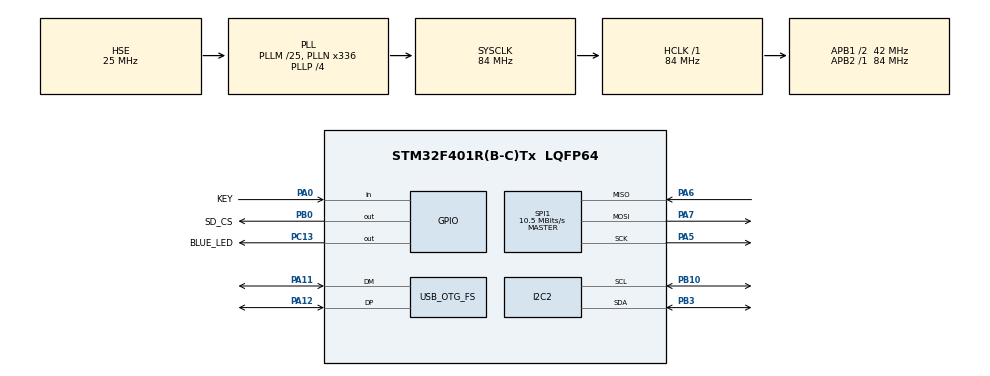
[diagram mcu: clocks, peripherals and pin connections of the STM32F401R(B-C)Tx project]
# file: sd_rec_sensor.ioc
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Dma.I2C2_RX.0.Direction=DMA_PERIPH_TO_MEMORY
Dma.I2C2_RX.0.FIFOMode=DMA_FIFOMODE_DISABLE
Dma.I2C2_RX.0.Instance=DMA1_Stream2
Dma.I2C2_RX.0.MemDataAlignment=DMA_MDATAALIGN_BYTE
Dma.I2C2_RX.0.MemInc=DMA_MINC_ENABLE
Dma.I2C2_RX.0.Mode=DMA_NORMAL
Dma.I2C2_RX.0.PeriphDataAlignment=DMA_PDATAALIGN_BYTE
Dma.I2C2_RX.0.PeriphInc=DMA_PINC_DISABLE
Dma.I2C2_RX.0.Priority=DMA_PRIORITY_MEDIUM
Dma.I2C2_TX.1.Direction=DMA_MEMORY_TO_PERIPH
Dma.I2C2_TX.1.FIFOMode=DMA_FIFOMODE_DISABLE
Dma.I2C2_TX.1.Instance=DMA1_Stream7
Dma.I2C2_TX.1.MemDataAlignment=DMA_MDATAALIGN_BYTE
Dma.I2C2_TX.1.MemInc=DMA_MINC_ENABLE
Dma.I2C2_TX.1.Mode=DMA_NORMAL
Dma.I2C2_TX.1.PeriphDataAlignment=DMA_PDATAALIGN_BYTE
Dma.I2C2_TX.1.PeriphInc=DMA_PINC_DISABLE
Dma.I2C2_TX.1.Priority=DMA_PRIORITY_MEDIUM
Dma.Request0=I2C2_RX
Dma.Request1=I2C2_TX
Dma.Request2=SPI1_RX
Dma.Request3=SPI1_TX
Dma.SPI1_RX.2.Direction=DMA_PERIPH_TO_MEMORY
Dma.SPI1_RX.2.FIFOMode=DMA_FIFOMODE_DISABLE
Dma.SPI1_RX.2.Instance=DMA2_Stream0
Dma.SPI1_RX.2.MemDataAlignment=DMA_MDATAALIGN_BYTE
Dma.SPI1_RX.2.MemInc=DMA_MINC_ENABLE
Dma.SPI1_RX.2.Mode=DMA_NORMAL
Dma.SPI1_RX.2.PeriphDataAlignment=DMA_PDATAALIGN_BYTE
Dma.SPI1_RX.2.PeriphInc=DMA_PINC_DISABLE
Dma.SPI1_RX.2.Priority=DMA_PRIORITY_LOW
Dma.SPI1_TX.3.Direction=DMA_MEMORY_TO_PERIPH
Dma.SPI1_TX.3.FIFOMode=DMA_FIFOMODE_DISABLE
Dma.SPI1_TX.3.Instance=DMA2_Stream3
Dma.SPI1_TX.3.MemDataAlignment=DMA_MDATAALIGN_BYTE
Dma.SPI1_TX.3.MemInc=DMA_MINC_ENABLE
Dma.SPI1_TX.3.Mode=DMA_NORMAL
Dma.SPI1_TX.3.PeriphDataAlignment=DMA_PDATAALIGN_BYTE
Dma.SPI1_TX.3.PeriphInc=DMA_PINC_DISABLE
Dma.SPI1_TX.3.Priority=DMA_PRIORITY_LOW
I2C2.I2C_Mode=I2C_Fast
Mcu.Family=STM32F4
Mcu.Name=STM32F401R(B-C)Tx
Mcu.Package=LQFP64
NVIC.DMA1_Stream2_IRQn=true\:7\:0\:true\:false\:true\:false\:true\:true
NVIC.DMA1_Stream7_IRQn=true\:7\:0\:true\:false\:true\:false\:true\:true
NVIC.DMA2_Stream0_IRQn=true\:8\:0\:true\:false\:true\:false\:true\:true
NVIC.DMA2_Stream3_IRQn=true\:8\:0\:true\:false\:true\:false\:true\:true
NVIC.I2C2_EV_IRQn=true\:7\:0\:true\:false\:true\:true\:true\:true
NVIC.OTG_FS_IRQn=true\:6\:0\:true\:false\:true\:false\:true\:true
NVIC.PriorityGroup=NVIC_PRIORITYGROUP_4
NVIC.SPI1_IRQn=true\:8\:0\:true\:false\:true\:true\:true\:true
NVIC.TIM1_BRK_TIM9_IRQn=true\:6\:0\:true\:false\:true\:true\:true\:true
NVIC.TIM1_UP_TIM10_IRQn=true\:15\:0\:false\:false\:true\:false\:true\:true
NVIC.TimeBase=TIM1_UP_TIM10_IRQn
NVIC.TimeBaseIP=TIM1
PA0-WKUP.GPIO_Label=KEY
PA0-WKUP.Signal=GPIO_Input
PA11.Mode=Device_Only
PA11.Signal=USB_OTG_FS_DM
PA12.Mode=Device_Only
PA12.Signal=USB_OTG_FS_DP
PA13.Mode=Serial_Wire
PA13.Signal=SYS_JTMS-SWDIO
PA14.Mode=Serial_Wire
PA14.Signal=SYS_JTCK-SWCLK
PA5.GPIO_Speed=GPIO_SPEED_FREQ_HIGH
PA5.Mode=Full_Duplex_Master
PA5.Signal=SPI1_SCK
PA6.GPIO_Speed=GPIO_SPEED_FREQ_HIGH
PA6.Mode=Full_Duplex_Master
PA6.Signal=SPI1_MISO
PA7.GPIO_Speed=GPIO_SPEED_FREQ_HIGH
PA7.Mode=Full_Duplex_Master
PA7.Signal=SPI1_MOSI
PB0.GPIO_Label=SD_CS
PB0.GPIO_Speed=GPIO_SPEED_FREQ_HIGH
PB0.PinState=GPIO_PIN_SET
PB0.Signal=GPIO_Output
PB10.GPIO_Speed=GPIO_SPEED_FREQ_MEDIUM
PB10.Mode=I2C
PB10.Signal=I2C2_SCL
PB3.GPIO_Speed=GPIO_SPEED_FREQ_MEDIUM
PB3.Mode=I2C
PB3.Signal=I2C2_SDA
PC13-ANTI_TAMP.GPIO_Label=BLUE_LED
PC13-ANTI_TAMP.Signal=GPIO_Output
PC14-OSC32_IN.Mode=LSE-External-Oscillator
PC14-OSC32_IN.Signal=RCC_OSC32_IN
PC15-OSC32_OUT.Mode=LSE-External-Oscillator
PC15-OSC32_OUT.Signal=RCC_OSC32_OUT
PH0\ -\ OSC_IN.Mode=HSE-External-Oscillator
PH0\ -\ OSC_IN.Signal=RCC_OSC_IN
PH1\ -\ OSC_OUT.Mode=HSE-External-Oscillator
PH1\ -\ OSC_OUT.Signal=RCC_OSC_OUT
ProjectManager.HeapSize=0x200
ProjectManager.StackSize=0x400
ProjectManager.TargetToolchain=Makefile
RCC.48MHZClocksFreq_Value=48000000
RCC.AHBFreq_Value=84000000
RCC.APB1CLKDivider=RCC_HCLK_DIV2
RCC.APB1Freq_Value=42000000
RCC.APB1TimFreq_Value=84000000
RCC.APB2Freq_Value=84000000
RCC.APB2TimFreq_Value=84000000
RCC.CortexFreq_Value=84000000
RCC.HCLKFreq_Value=84000000
RCC.HSE_VALUE=25000000
RCC.HSI_VALUE=16000000
RCC.PLLM=25
RCC.PLLN=336
RCC.PLLP=RCC_PLLP_DIV4
RCC.PLLQ=7
RCC.SYSCLKFreq_VALUE=84000000
RCC.SYSCLKSource=RCC_SYSCLKSOURCE_PLLCLK
RCC.VCOOutputFreq_Value=336000000
SPI1.BaudRatePrescaler=SPI_BAUDRATEPRESCALER_8
SPI1.CLKPhase=SPI_PHASE_2EDGE
SPI1.CLKPolarity=SPI_POLARITY_HIGH
SPI1.CalculateBaudRate=10.5 MBits/s
SPI1.Direction=SPI_DIRECTION_2LINES
SPI1.Mode=SPI_MODE_MASTER
SPI1.VirtualType=VM_MASTER
TIM9.Period=999
TIM9.Prescaler=84
USB_DEVICE.CLASS_NAME_FS=CDC
USB_DEVICE.VirtualMode=Cdc
USB_DEVICE.VirtualModeFS=Cdc_FS
USB_OTG_FS.VirtualMode=Device_Only
VP_SYS_VS_tim1.Mode=TIM1
VP_TIM9_VS_ClockSourceINT.Mode=Internal
VP_USB_DEVICE_VS_USB_DEVICE_CDC_FS.Mode=CDC_FS
board=custom

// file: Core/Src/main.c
/* USER CODE BEGIN Header */
/**
  ******************************************************************************
  * @file           : main.c
  * @brief          : Main program body
  ******************************************************************************
  * @attention
  *
  * Copyright (c) 2023 STMicroelectronics.
  * All rights reserved.
  *
  * This software is licensed under terms that can be found in the LICENSE file
  * in the root directory of this software component.
  * If no LICENSE file comes with this software, it is provided AS-IS.
  *
  ******************************************************************************
  */
/* USER CODE END Header */
#include "main.h"
#include "dma.h"
#include "i2c.h"
#include "spi.h"
#include "tim.h"
#include "usb_device.h"
#include "gpio.h"

/* USER CODE BEGIN Includes */
#include "usbd_cdc_if.h"
#include "FreeRTOS.h"
#include "task.h"
#include "dwt_delay.h"
#include "rtos_bus.h"
#include "icm20948.h"
#include "diskio.h"
/* USER CODE END Includes */

/* USER CODE BEGIN PD */
#define SD_BUFFER_SIZE  512
/* USER CODE END PD */

/* USER CODE BEGIN PV */
TaskHandle_t sensor_handler;
TaskHandle_t sd_handler;
TaskHandle_t msg_handler;

struct imu {
  float ax;
  float ay;
  float az;
  float gx;
  float gy;
  float gz;
} imu;

char *sd_idle_buf_ptr;
char sd_buffer[2][SD_BUFFER_SIZE];
/* variable of sd spi */
WORD Timer1, Timer2;
/* variable of file system */
FATFS fs;
FATFS *pfs;
FIL fil;
FRESULT fres;
DWORD fre_clust;

uint8_t rec_finish;

/* USER CODE END PV */

void SystemClock_Config(void);
/* USER CODE BEGIN PFP */
static void sensor_task(void *param);
static void sd_task(void *param);
static void msg_task(void *param);

/* USER CODE END PFP */

int main(void)
{
  /* USER CODE BEGIN 1 */
  BaseType_t status;
  /* USER CODE END 1 */

  /* MCU Configuration--------------------------------------------------------*/

  /* Reset of all peripherals, Initializes the Flash interface and the Systick. */
  HAL_Init();

  /* Configure the system clock */
  SystemClock_Config();

  /* Initialize all configured peripherals */
  MX_GPIO_Init();
  MX_DMA_Init();
  MX_USB_DEVICE_Init();
  MX_I2C2_Init();
  MX_SPI1_Init();
  MX_TIM9_Init();
  /* USER CODE BEGIN 2 */
  DWT_Init();
  HAL_Delay(100);
  /* Initialize SD double buffer */
  sd_idle_buf_ptr = sd_buffer[0];
  memset(sd_buffer[0], 0, SD_BUFFER_SIZE);
  memset(sd_buffer[1], 0, SD_BUFFER_SIZE);

  rec_finish = 0;

  set_bus_mode(BUS_POLLING_MODE);

  if (icm20948_init(1125, GYRO_2000_DPS, ACCEL_16G, LP_BW_119HZ)) {
    while (1) {
      HAL_GPIO_TogglePin(BLUE_LED_GPIO_Port, BLUE_LED_Pin);
      HAL_Delay(1000);
    }
  }

  fres = f_mount(&fs, "", 0);
  if (fres != FR_OK) {
    Error_Handler();
  }
  fres = f_open(&fil, "test1.txt", FA_CREATE_ALWAYS | FA_READ | FA_WRITE);
  if (fres != FR_OK) {
    Error_Handler();
  }

  set_bus_mode(BUS_INTERRUPT_MODE);

  vSetVarulMaxPRIGROUPValue();
  SEGGER_UART_init(1500000);
  SEGGER_SYSVIEW_Conf();

  status = xTaskCreate(sensor_task, "sensor_task", 300, NULL, 3, &sensor_handler);
  configASSERT(status == pdPASS);

  status = xTaskCreate(sd_task, "sd_task", 300, NULL, 2, &sd_handler);
  configASSERT(status == pdPASS);

  status = xTaskCreate(msg_task, "msg_task", 500, NULL, 1, &msg_handler);
  configASSERT(status == pdPASS);

  vTaskStartScheduler();
  /* USER CODE END 2 */

  /* Infinite loop */
  while (1)
  {

  }
}

void SystemClock_Config(void)
{
  RCC_OscInitTypeDef RCC_OscInitStruct = {0};
  RCC_ClkInitTypeDef RCC_ClkInitStruct = {0};

  /** Configure the main internal regulator output voltage
  */
  __HAL_RCC_PWR_CLK_ENABLE();
  __HAL_PWR_VOLTAGESCALING_CONFIG(PWR_REGULATOR_VOLTAGE_SCALE2);

  /** Initializes the RCC Oscillators according to the specified parameters
  * in the RCC_OscInitTypeDef structure.
  */
  RCC_OscInitStruct.OscillatorType = RCC_OSCILLATORTYPE_HSE;
  RCC_OscInitStruct.HSEState = RCC_HSE_ON;
  RCC_OscInitStruct.PLL.PLLState = RCC_PLL_ON;
  RCC_OscInitStruct.PLL.PLLSource = RCC_PLLSOURCE_HSE;
  RCC_OscInitStruct.PLL.PLLM = 25;
  RCC_OscInitStruct.PLL.PLLN = 336;
  RCC_OscInitStruct.PLL.PLLP = RCC_PLLP_DIV4;
  RCC_OscInitStruct.PLL.PLLQ = 7;
  if (HAL_RCC_OscConfig(&RCC_OscInitStruct) != HAL_OK)
  {
    Error_Handler();
  }

  /** Initializes the CPU, AHB and APB buses clocks
  */
  RCC_ClkInitStruct.ClockType = RCC_CLOCKTYPE_HCLK|RCC_CLOCKTYPE_SYSCLK
                              |RCC_CLOCKTYPE_PCLK1|RCC_CLOCKTYPE_PCLK2;
  RCC_ClkInitStruct.SYSCLKSource = RCC_SYSCLKSOURCE_PLLCLK;
  RCC_ClkInitStruct.AHBCLKDivider = RCC_SYSCLK_DIV1;
  RCC_ClkInitStruct.APB1CLKDivider = RCC_HCLK_DIV2;
  RCC_ClkInitStruct.APB2CLKDivider = RCC_HCLK_DIV1;

  if (HAL_RCC_ClockConfig(&RCC_ClkInitStruct, FLASH_LATENCY_2) != HAL_OK)
  {
    Error_Handler();
  }
}

/* USER CODE BEGIN 4 */
void HAL_I2C_MemTxCpltCallback(I2C_HandleTypeDef *hi2c)
{
  BaseType_t xHigherPriorityTaskWoken = pdFALSE;

  if (hi2c->Instance == hi2c2.Instance) {
    vTaskNotifyGiveFromISR(sensor_handler, &xHigherPriorityTaskWoken);
  }
  portYIELD_FROM_ISR(xHigherPriorityTaskWoken);
}

void HAL_I2C_MemRxCpltCallback(I2C_HandleTypeDef *hi2c)
{
  BaseType_t xHigherPriorityTaskWoken = pdFALSE;

  if (hi2c->Instance == hi2c2.Instance) {
    vTaskNotifyGiveFromISR(sensor_handler, &xHigherPriorityTaskWoken);
  }
  portYIELD_FROM_ISR(xHigherPriorityTaskWoken);
}

void HAL_SPI_TxRxCpltCallback(SPI_HandleTypeDef *hspi)
{
  BaseType_t xHigherPriorityTaskWoken = pdFALSE;

  if (hspi->Instance == hspi1.Instance) {
    vTaskNotifyGiveFromISR(sd_handler, &xHigherPriorityTaskWoken);
  }
  portYIELD_FROM_ISR(xHigherPriorityTaskWoken);
}

void HAL_SPI_TxCpltCallback(SPI_HandleTypeDef *hspi)
{
  BaseType_t xHigherPriorityTaskWoken = pdFALSE;

  if (hspi->Instance == hspi1.Instance) {
    vTaskNotifyGiveFromISR(sd_handler, &xHigherPriorityTaskWoken);
  }
  portYIELD_FROM_ISR(xHigherPriorityTaskWoken);
}

static void sensor_task(void *param)
{
  struct {
    BaseType_t current_tick;
    float ax, ay, az, gx, gy, gz;
  } data;
  uint16_t msg_len;

  while (1) {
    if (!icm20948_read_axis6(&data.ax, &data.ay, &data.az,
                             &data.gx, &data.gy, &data.gz)) {
      data.current_tick = xTaskGetTickCount();
      imu.ax = data.az;
      imu.ay = data.ay;
      imu.az = data.az;
      imu.gx = data.gx;
      imu.gy = data.gy;
      imu.gz = data.gz;

      if (!rec_finish) {
        msg_len = snprintf(sd_idle_buf_ptr, 200, "tick: %ld, "
                          "ax: %.2f, ay: %.2f, az: %.2f, "
                          "gx: %.2f, gy: %.2f, gz: %.2f\n",
                          data.current_tick, data.ax, data.ay, data.az,
                          data.gx, data.gy, data.gz);
        sd_idle_buf_ptr += msg_len;
        // memcpy(sd_idle_buf_ptr, &data, sizeof(data));
        // sd_idle_buf_ptr += sizeof(data);
        // *(sd_idle_buf_ptr++) = '\n';
      }
    }
    vTaskDelay(pdMS_TO_TICKS(10));
  }
}

static void sd_task(void *param)
{
  BaseType_t start_tick = xTaskGetTickCount();
  BaseType_t pass_tick;
  uint8_t wr_buf_id = 1;
  UINT wr_msg_size = 0;
  UINT remain_size;

  while (1) {
    pass_tick = xTaskGetTickCount() - start_tick;
    if (pass_tick < pdMS_TO_TICKS(10000)) {
      if (wr_msg_size > 0)
        f_write(&fil, sd_buffer[wr_buf_id], wr_msg_size, &remain_size);

      vTaskSuspendAll();
      wr_msg_size = sd_idle_buf_ptr - sd_buffer[!wr_buf_id];
      sd_idle_buf_ptr = sd_buffer[wr_buf_id];
      xTaskResumeAll();

      wr_buf_id = !wr_buf_id;
    } else if (rec_finish == 0) {
      f_close(&fil);
      f_mount(NULL, "", 0);
      rec_finish = 1;
    }

    vTaskDelay(pdMS_TO_TICKS(10));
  }
}

static void msg_task(void *param)
{
  char msg[300];
  uint16_t len;
  BaseType_t sensor_wm, sd_wm, msg_wm;
  BaseType_t min_remaining, remaining;
  float ax, ay, az, gx, gy, gz;

	while (1) {
    vTaskSuspendAll();
    ax = imu.ax;
    ay = imu.ay;
    az = imu.az;
    gx = imu.gx;
    gy = imu.gy;
    gz = imu.gz;
    xTaskResumeAll();

    sensor_wm = uxTaskGetStackHighWaterMark(sensor_handler);
    sd_wm = uxTaskGetStackHighWaterMark(sd_handler);
    msg_wm = uxTaskGetStackHighWaterMark(msg_handler);

    min_remaining = xPortGetMinimumEverFreeHeapSize();
    remaining = xPortGetFreeHeapSize();

		len = snprintf(msg, 300, "sensor data:\n"
                             "ax: %.2f, ay: %.2f, az: %.2f\n"
                             "gx: %.2f, gy: %.2f, gz: %.2f\n"
                             "stack watermark:\n"
                             "sensor: %ld, sd: %ld, msg: %ld\n"
                             "min remain: %ld, current remain: %ld\n",
                             ax, ay, az, gx, gy, gz,
                             sensor_wm, sd_wm, msg_wm,
                             min_remaining, remaining);
    CDC_Transmit_FS((uint8_t *)msg, len);

    vTaskDelay(pdMS_TO_TICKS(100));
  }
}

/* USER CODE END 4 */

void HAL_TIM_PeriodElapsedCallback(TIM_HandleTypeDef *htim)
{
  if (htim->Instance == TIM1) {
    HAL_IncTick();
  }
  /* USER CODE BEGIN Callback 1 */
  if (htim->Instance == htim9.Instance) {
    uint16_t count;

    count = Timer1;
    if (count)
      Timer1 = --count;
    count = Timer2;
    if (count)
      Timer2 = --count;
  }
  /* USER CODE END Callback 1 */
}

void Error_Handler(void)
{
  /* USER CODE BEGIN Error_Handler_Debug */
  /* User can add his own implementation to report the HAL error return state */
  __disable_irq();
  while (1)
  {
    CDC_Transmit_FS((uint8_t *)"error!\n", 7);
    HAL_Delay(1000);
  }
  /* USER CODE END Error_Handler_Debug */
}
